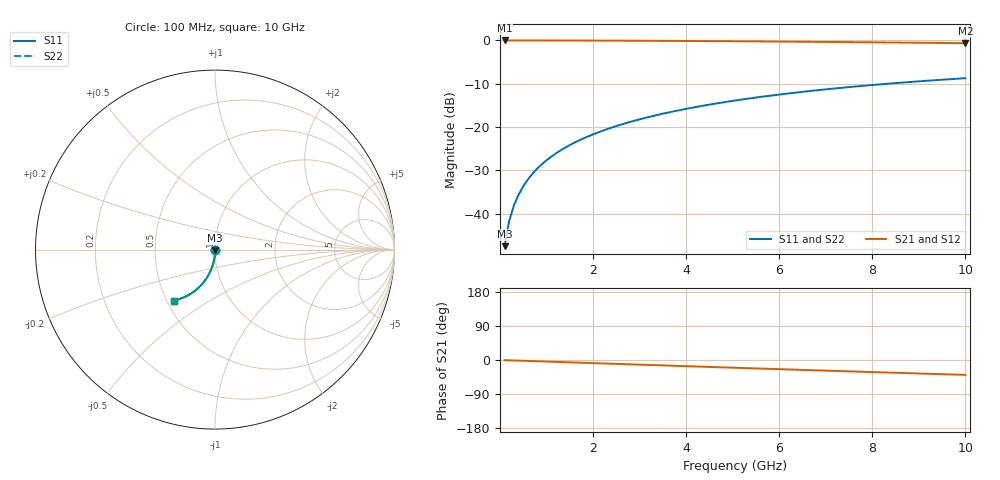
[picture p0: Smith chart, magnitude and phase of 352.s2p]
# Hz S RI R 50.00
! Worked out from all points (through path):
!   100 points, 100 MHz to 10 GHz, reference 50 ohm
!   highest |S21| = -0.01 dB at 100 MHz (marker M1); lowest = -0.6 dB at 10 GHz (marker M2)
!   group delay of S21, straight-line fit = 10.9 ps
!   lowest |S11| = -47.5 dB at 100 MHz (marker M3), VSWR 1.01, Z = 50.1 - j0.415 ohm
!   |S11| at or under -10 dB: start of sweep to 8.334 GHz
!   |S22| runs from -47.5 to -8.7 dB; largest |S21 - S12| = 0
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1e8  0.000767 -0.00414  0.9992 -0.00714  0.9992 -0.00714  0.000767 -0.00414
2e8  0.000679 -0.00828  0.999 -0.0143  0.999 -0.0143  0.000679 -0.00828
3e8  0.000529 -0.0124  0.9989 -0.0214  0.9989 -0.0214  0.000529 -0.0124
4e8  0.00032 -0.0166  0.9986 -0.0285  0.9986 -0.0285  0.00032 -0.0166
5e8  5.21e-05 -0.0207  0.9983 -0.0357  0.9983 -0.0357  5.21e-05 -0.0207
6e8  -0.000275 -0.0248  0.9979 -0.0428  0.9979 -0.0428  -0.000275 -0.0248
7e8  -0.000662 -0.0289  0.9975 -0.0499  0.9975 -0.0499  -0.000662 -0.0289
8e8  -0.00111 -0.033  0.997 -0.057  0.997 -0.057  -0.00111 -0.033
9e8  -0.00161 -0.0371  0.9964 -0.0641  0.9964 -0.0641  -0.00161 -0.0371
1.1e9  -0.0028 -0.0453  0.995 -0.0783  0.995 -0.0783  -0.0028 -0.0453
1.4e9  -0.00501 -0.0575  0.9924 -0.0995  0.9924 -0.0995  -0.00501 -0.0575
1.8e9  -0.00876 -0.0736  0.9881 -0.1276  0.9881 -0.1276  -0.00876 -0.0736
2.1e9  -0.0122 -0.0855  0.9842 -0.1485  0.9842 -0.1485  -0.0122 -0.0855
2.5e9  -0.0175 -0.1011  0.978 -0.1761  0.978 -0.1761  -0.0175 -0.1011
2.9e9  -0.0236 -0.1163  0.9708 -0.2034  0.9708 -0.2034  -0.0236 -0.1163
3.4e9  -0.0325 -0.1347  0.9605 -0.2368  0.9605 -0.2368  -0.0325 -0.1347
4.2e9  -0.0492 -0.1626  0.941 -0.2889  0.941 -0.2889  -0.0492 -0.1626
5.1e9  -0.0714 -0.1912  0.915 -0.3447  0.915 -0.3447  -0.0714 -0.1912
5.9e9  -0.0937 -0.2139  0.8886 -0.3917  0.8886 -0.3917  -0.0937 -0.2139
6.7e9  -0.118 -0.2339  0.8595 -0.4359  0.8595 -0.4359  -0.118 -0.2339
8.4e9  -0.1745 -0.2662  0.7907 -0.5203  0.7907 -0.5203  -0.1745 -0.2662
1e10  -0.2312 -0.284  0.7197 -0.5874  0.7197 -0.5874  -0.2312 -0.284
